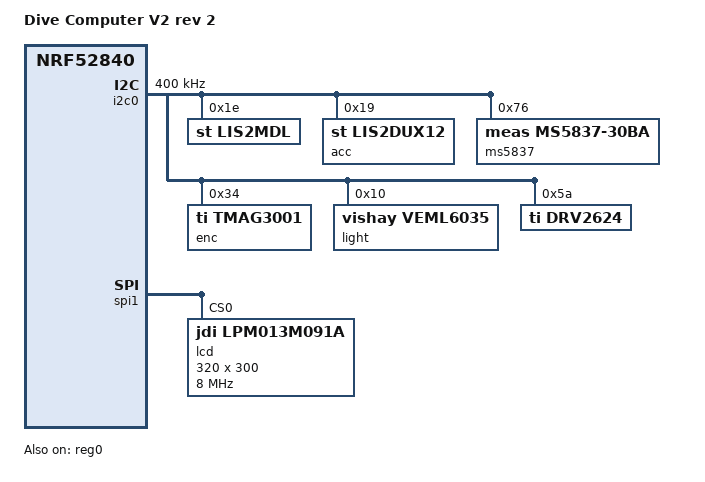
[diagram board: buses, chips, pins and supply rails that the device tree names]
/*
 * Dive Computer V2 rev 2 - nRF52840-QIAA; procurement variant QIAA-F.
 * Battery feeds VDDH. MCU VDD is distinct from the switched external 1.8 V rail.
 * Both internal DC/DC stages require their Nordic reference LC networks.
 * No image/startup code here writes REGOUT0; inspect the actual device UICR
 * before any later hardware programming. See README-target.txt.
 * SPDX-License-Identifier: Apache-2.0
 */

/dts-v1/;
#include <nordic/nrf52840_qiaa.dtsi>
#include "dc_v2_2_nrf52840-pinctrl.dtsi"

/ {
	model = "Dive Computer V2 rev 2";
	compatible = "dive,dc-v2-2";

	chosen {
		zephyr,sram = &sram0;
		zephyr,flash = &flash0;
		zephyr,code-partition = &slot0_partition;
		/* No UART is routed on this board;
		 * use SEGGER RTT over SWD for console output. */
	};

	/* Inspectable voltage policy, not proof of a preprogrammed UICR value.
	 * VOUT=0 selects 1.8 V; erased/default VOUT=7 also gives 1.8 V.
	 * Existing devices with another value require separate qualification. */
	zephyr,user {
		mcu-regout0-microvolt = <1800000>;
		mcu-regout0-uicr-vout = <0>;
	};

	/* GPIO pin assignments (gpio-leds/gpio-keys, sensor and screen
	 * control pins, SPI chip select) live in app.overlay so they are
	 * visible and editable in the Devicetree Visual Editor. */
};

/* GPIO ports and GPIOTE are disabled by default in the SoC dtsi;
 * enable them explicitly like the Nordic reference boards do. */
&gpiote {
	status = "okay";
};

&gpio0 {
	status = "okay";
};

&gpio1 {
	status = "okay";
};

/* P0.18/nRESET is wired to the debug connector: configure it as
 * hardware reset so a locked/sleeping device can always be
 * re-attached (same effect as nrfjprog --pinresetenable). */
&uicr {
	gpio-as-nreset;
	nfct-pins-as-gpios;
};

/* Supported SDK regulator selection; do not use deprecated DCDC Kconfig. */
&reg0 {
	status = "okay";
};

&reg1 {
	regulator-initial-mode = <NRF5X_REG_MODE_DCDC>;
};

&i2c0 {
	status = "okay";
	pinctrl-0 = <&i2c0_default>;
	pinctrl-1 = <&i2c0_sleep>;
	pinctrl-names = "default", "sleep";
	clock-frequency = <400000>;

	/* Magnetometer, I2C mode (CS pin tied high), fixed address.
	 * INT/DRDY not routed to the MCU: polled. */
	lis2mdl@1e {
		compatible = "st,lis2mdl";
		reg = <0x1e>;
	};

	/* Accelerometer, I2C mode (CS high), SA0 high. INT1 routed
	 * (wake-on-motion, assigned in app.overlay); INT2 not routed
	 * per pin budget decision. */
	acc: lis2dux12@19 {
		compatible = "st,lis2dux12";
		reg = <0x19>;
	};

	/* Pressure sensor, fixed address. */
	ms5837: ms5837@76 {
		compatible = "meas,ms5837-30ba";
		reg = <0x76>;
	};

	/* 3D Hall sensor for the rotary encoder, ADDR pin to GND. */
	enc: tmag3001@34 {
		compatible = "ti,tmag3001";
		reg = <0x34>;
	};

	/* Ambient light sensor (out-of-tree driver, fixed address). */
	light: veml6035@10 {
		compatible = "vishay,veml6035";
		reg = <0x10>;
	};

	/* Haptic driver, LRA 250 Hz (out-of-tree driver, fixed address). */
	drv2624@5a {
		compatible = "ti,drv2624";
		reg = <0x5a>;
	};
};

&spi1 {
	status = "okay";
	pinctrl-0 = <&spi1_default>;
	pinctrl-1 = <&spi1_sleep>;
	pinctrl-names = "default", "sleep";

	/* JDI LPM013M091A, 320x300 RGB111, three-wire nine-bit protocol
	 * (IM0=GND, DCX=VDDI). No panel transport/driver is implemented.
	 * Absent spi-cpol/spi-cpha select mode 0 (rising-edge sampling).
	 * 8 MHz is the confirmed ceiling, not qualified operating speed.
	 * Chip select/reset/TE live in app.overlay; no MISO/read path. */
	lcd: lpm013m091a@0 {
		compatible = "jdi,lpm013m091a";
		reg = <0>;
		spi-max-frequency = <8000000>;
		width = <320>;
		height = <300>;
	};
};

/* PWM écran remains normal: R8 fitted, R7 DNP. P0.20 has no active
 * owner until explicit fallback selection (R7 fitted, R8 DNP). */
&pwm0 {
	status = "disabled";
	pinctrl-0 = <&pwm0_default>;
	pinctrl-1 = <&pwm0_sleep>;
	pinctrl-names = "default", "sleep";
};

/* Derived layout: 48 + 476 + 476 + 24 KiB; reservations only. */
&flash0 {
	partitions {
		ranges;
		#address-cells = <1>;
		#size-cells = <1>;

		boot_partition: partition@0 {
			compatible = "zephyr,mapped-partition";
			label = "mcuboot";
			reg = <0x00000000 0xc000>;
		};

		slot0_partition: partition@c000 {
			compatible = "zephyr,mapped-partition";
			label = "image-0";
			reg = <0x0000c000 0x77000>;
		};

		slot1_partition: partition@83000 {
			compatible = "zephyr,mapped-partition";
			label = "image-1";
			reg = <0x00083000 0x77000>;
		};

		storage_partition: partition@fa000 {
			compatible = "zephyr,mapped-partition";
			label = "storage";
			reg = <0x000fa000 0x00006000>;
		};
	};
};
